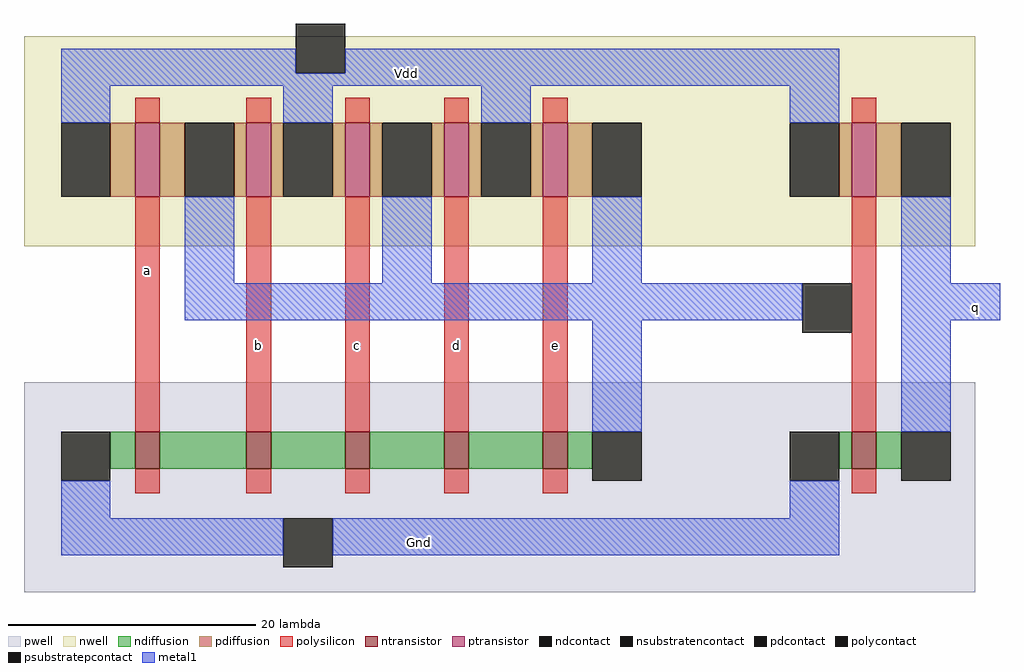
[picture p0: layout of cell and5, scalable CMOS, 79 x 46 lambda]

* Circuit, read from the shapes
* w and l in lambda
.subckt and5 Gnd Vdd a b c d e q
M1 n1 a Gnd Gnd nfet w=3 l=2
M2 n2 b n1 Gnd nfet w=3 l=2
M3 n3 c n2 Gnd nfet w=3 l=2
M4 n4 d n3 Gnd nfet w=3 l=2
M5 n5 e n4 Gnd nfet w=3 l=2
M6 q n5 Gnd Gnd nfet w=3 l=2
M7 n5 a Vdd Vdd pfet w=6 l=2
M8 Vdd b n5 Vdd pfet w=6 l=2
M9 n5 c Vdd Vdd pfet w=6 l=2
M10 Vdd d n5 Vdd pfet w=6 l=2
M11 n5 e Vdd Vdd pfet w=6 l=2
M12 q n5 Vdd Vdd pfet w=6 l=2
.ends

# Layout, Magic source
magic
tech scmos
<< pwell >>
rect -13 0 64 17
<< nwell >>
rect -13 28 64 45
<< polysilicon >>
rect -4 38 -2 40
rect 5 38 7 40
rect 13 38 15 40
rect 21 38 23 40
rect 29 38 31 40
rect 54 38 56 40
rect -4 13 -2 32
rect 5 13 7 32
rect 13 13 15 32
rect 21 13 23 32
rect 29 13 31 32
rect 54 13 56 32
rect -4 8 -2 10
rect 5 8 7 10
rect 13 8 15 10
rect 21 8 23 10
rect 29 8 31 10
rect 54 8 56 10
<< ndiffusion >>
rect -6 10 -4 13
rect -2 10 5 13
rect 7 10 13 13
rect 15 10 21 13
rect 23 10 29 13
rect 31 10 33 13
rect 53 10 54 13
rect 56 10 58 13
<< pdiffusion >>
rect -6 32 -4 38
rect -2 32 0 38
rect 4 32 5 38
rect 7 32 8 38
rect 12 32 13 38
rect 15 32 16 38
rect 20 32 21 38
rect 23 32 24 38
rect 28 32 29 38
rect 31 32 33 38
rect 53 32 54 38
rect 56 32 58 38
<< metal1 >>
rect -10 42 9 44
rect 13 42 53 44
rect -10 41 53 42
rect -10 38 -6 41
rect 8 38 12 41
rect 24 38 28 41
rect 49 38 53 41
rect 0 25 4 32
rect 16 25 20 32
rect 33 25 37 32
rect 58 25 62 32
rect 0 22 50 25
rect 33 13 37 22
rect 58 22 66 25
rect 58 13 62 22
rect -10 6 -6 9
rect 49 6 53 9
rect -10 3 8 6
rect 12 3 53 6
<< ntransistor >>
rect -4 10 -2 13
rect 5 10 7 13
rect 13 10 15 13
rect 21 10 23 13
rect 29 10 31 13
rect 54 10 56 13
<< ptransistor >>
rect -4 32 -2 38
rect 5 32 7 38
rect 13 32 15 38
rect 21 32 23 38
rect 29 32 31 38
rect 54 32 56 38
<< polycontact >>
rect 50 21 54 25
<< ndcontact >>
rect -10 9 -6 13
rect 33 9 37 13
rect 49 9 53 13
rect 58 9 62 13
<< pdcontact >>
rect -10 32 -6 38
rect 0 32 4 38
rect 8 32 12 38
rect 16 32 20 38
rect 24 32 28 38
rect 33 32 37 38
rect 49 32 53 38
rect 58 32 62 38
<< psubstratepcontact >>
rect 8 2 12 6
<< nsubstratencontact >>
rect 9 42 13 46
<< labels >>
rlabel polysilicon -3 26 -3 26 1 a
rlabel polysilicon 6 20 6 20 1 b
rlabel polysilicon 14 20 14 20 1 c
rlabel polysilicon 22 20 22 20 1 d
rlabel polysilicon 30 20 30 20 1 e
rlabel metal1 19 4 19 4 1 Gnd
rlabel metal1 18 42 18 42 5 Vdd
rlabel metal1 64 23 64 23 7 q
<< end >>
